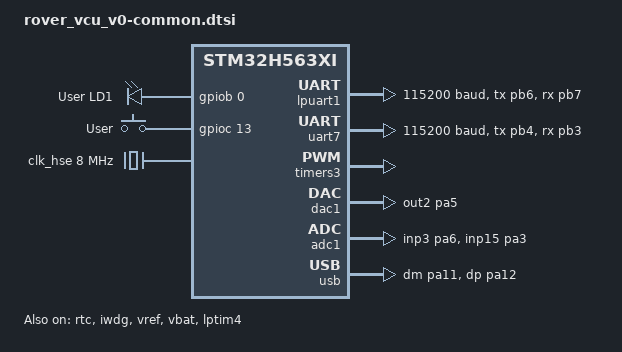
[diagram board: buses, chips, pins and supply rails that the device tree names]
/*
 * Copyright (c) 2021 Linaro Limited
 * Copyright (c) 2023 Thomas Stranger
 *
 * SPDX-License-Identifier: Apache-2.0
 */

#include <st/h5/stm32h563Xi.dtsi>
#include <st/h5/stm32h563ritx-pinctrl.dtsi>
#include <zephyr/dt-bindings/input/input-event-codes.h>

/ {
	leds: leds {
		compatible = "gpio-leds";

		green_led_1: led_1 {
			gpios = <&gpiob 0 GPIO_ACTIVE_HIGH>;
			label = "User LD1";
		};

	};

	gpio_keys {
		compatible = "gpio-keys";

		user_button: button {
			label = "User";
			gpios = <&gpioc 13 GPIO_ACTIVE_HIGH>;
			zephyr,code = <INPUT_KEY_0>;
		};
	};

	pwmleds: pwmleds {
		compatible = "pwm-leds";
		/* NOTE: disabled by default, TIM3_CH3 reuses PB0 (green LED) */
		status = "disabled";

		pwm_led_1: green_led_1 {
			pwms = <&pwm3 3 PWM_MSEC(20) PWM_POLARITY_NORMAL>;
			label = "green led";
		};
	};
};

&clk_hsi {
	status = "disabled";
};

&clk_hse {
	clock-frequency = <DT_FREQ_M(8)>;
	status = "okay";
};

&clk_hsi48 {
	status = "okay";
};

&clk_lse {
	status = "okay";
};

&pll {
	div-m = <2>; /* 8MHz HSE / 2 = 4MHz PLL input */
	mul-n = <120>; /* 4MHz * 120 = 480MHz VCO */
	div-p = <2>; /* 480MHz / 2 = 240MHz SYSCLK */
	div-q = <4>;
	div-r = <2>;
	clocks = <&clk_hse>;
	status = "okay";
};

&pll2 {
	div-m = <2>;
	mul-n = <120>;
	div-p = <2>;
	div-q = <3>;
	div-r = <2>;
	clocks = <&clk_hse>;
	status = "okay";
};



&rcc {
	clocks = <&pll>;
	clock-frequency = <DT_FREQ_M(240)>;
	ahb-prescaler = <1>;
	apb1-prescaler = <2>;
	apb2-prescaler = <1>;
	apb3-prescaler = <2>;
};

&lpuart1 {
	pinctrl-0 = <&lpuart1_tx_pb6 &lpuart1_rx_pb7>;
	pinctrl-names = "default";
	current-speed = <115200>;
	status = "okay";
};

&uart7 {
	pinctrl-0 = <&uart7_tx_pb4 &uart7_rx_pb3>;
	pinctrl-names = "default";
	current-speed = <115200>;
	status = "okay";
};

&timers3 {
	st,prescaler = <10000>;
	status = "okay";

	pwm3: pwm {
		status = "okay";
		pinctrl-0 = <&tim3_ch3_pb0>;
		pinctrl-names = "default";
	};
};

&rtc {
	clocks = <&rcc STM32_CLOCK(APB3, 21)>,
		 <&rcc STM32_SRC_LSE RTC_SEL(1)>;
	status = "okay";
};

&iwdg {
	status = "okay";
};

&gpdma1 {
	status = "okay";
};

&gpdma2 {
	status = "okay";
};

&dac1 {
	/* outputs only on 2 pins and pa4 is reserved for VBUS_SENSE */
	pinctrl-0 = <&dac1_out2_pa5>;  /* Zio D13 (on CN7) */
	pinctrl-names = "default";
	status = "okay";
};

&adc1 {
	clocks = <&rcc STM32_CLOCK(AHB2, 10)>,
		 <&rcc STM32_SRC_HCLK ADCDAC_SEL(0)>;
	clock-names = "adcx", "adc_ker";
	pinctrl-0 = <&adc1_inp3_pa6 &adc1_inp15_pa3>; /* Zio A0, Zio D35 */
	pinctrl-names = "default";
	st,adc-clock-source = "ASYNC";
	st,adc-prescaler = <6>;
	status = "okay";
};



&flash0 {
	partitions {
		compatible = "fixed-partitions";
		#address-cells = <1>;
		#size-cells = <1>;

		boot_partition: partition@0 {
			label = "mcuboot";
			reg = <0x00000000 DT_SIZE_K(64)>;
		};

		slot0_partition: partition@10000 {
			label = "image-0";
			reg = <0x00010000 DT_SIZE_K(960)>;
		};

		slot1_partition: partition@100000 {
			label = "image-1";
			reg = <0x00100000 DT_SIZE_K(960)>;
		};

		storage_partition: partition@1f0000 {
			label = "storage";
			reg = <0x001f0000 DT_SIZE_K(64)>;
		};
	};
};

zephyr_udc0: &usb {
	pinctrl-0 = <&usb_dm_pa11 &usb_dp_pa12>;
	pinctrl-names = "default";
	status = "okay";
};

&vref {
	status = "okay";
};

&vbat {
	status = "okay";
};

&clk_lsi {
	status = "okay";
};

stm32_lp_tick_source: &lptim4 {
	clocks = <&rcc STM32_CLOCK(APB3, 13)>,
		 <&rcc STM32_SRC_LSI LPTIM4_SEL(4)>;
	status = "okay";
};
